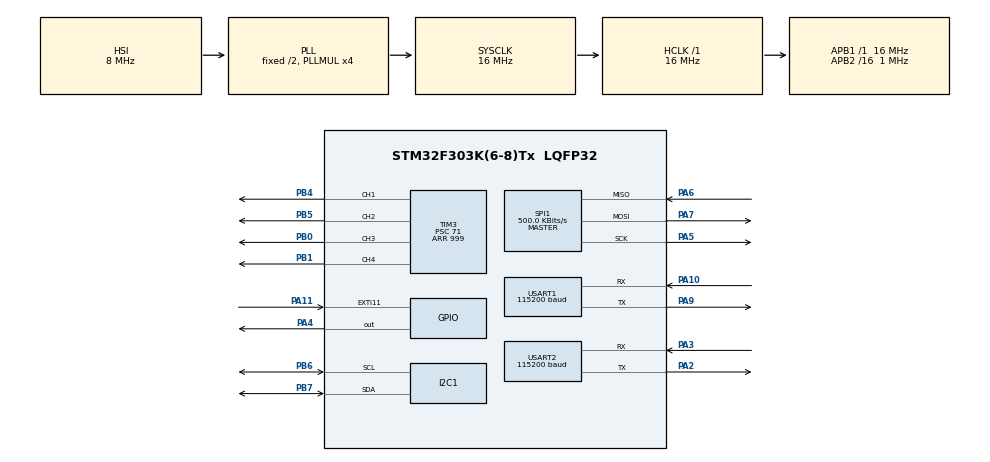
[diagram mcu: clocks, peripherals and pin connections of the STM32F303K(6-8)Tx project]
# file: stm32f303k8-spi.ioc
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I2C1.Timing=0x00201D2B
Mcu.Family=STM32F3
Mcu.Name=STM32F303K(6-8)Tx
Mcu.Package=LQFP32
NVIC.PriorityGroup=NVIC_PRIORITYGROUP_4
NVIC.USART1_IRQn=true\:0\:0\:false\:false\:true\:true\:true\:true
NVIC.USART2_IRQn=true\:0\:0\:false\:false\:true\:true\:true\:true
PA10.GPIO_PuPd=GPIO_PULLUP
PA10.Mode=Asynchronous
PA10.Signal=USART1_RX
PA11.Signal=GPXTI11
PA2.Mode=Asynchronous
PA2.Signal=USART2_TX
PA3.Mode=Asynchronous
PA3.Signal=USART2_RX
PA4.Signal=GPIO_Output
PA5.Mode=Full_Duplex_Master
PA5.Signal=SPI1_SCK
PA6.Mode=Full_Duplex_Master
PA6.Signal=SPI1_MISO
PA7.Mode=Full_Duplex_Master
PA7.Signal=SPI1_MOSI
PA9.GPIO_PuPd=GPIO_PULLUP
PA9.Mode=Asynchronous
PA9.Signal=USART1_TX
PB0.Signal=S_TIM3_CH3
PB1.Signal=S_TIM3_CH4
PB4.Signal=S_TIM3_CH1
PB5.Signal=S_TIM3_CH2
PB6.Mode=I2C
PB6.Signal=I2C1_SCL
PB7.Mode=I2C
PB7.Signal=I2C1_SDA
ProjectManager.HeapSize=0x200
ProjectManager.StackSize=0x400
ProjectManager.TargetToolchain=STM32CubeIDE
RCC.AHBFreq_Value=16000000
RCC.APB1Freq_Value=16000000
RCC.APB1TimFreq_Value=16000000
RCC.APB2CLKDivider=RCC_HCLK_DIV16
RCC.APB2Freq_Value=1000000
RCC.APB2TimFreq_Value=2000000
RCC.CortexFreq_Value=16000000
RCC.HCLKFreq_Value=16000000
RCC.HSE_VALUE=8000000
RCC.HSI_VALUE=8000000
RCC.PLLMUL=RCC_PLL_MUL4
RCC.SYSCLKFreq_VALUE=16000000
RCC.SYSCLKSourceVirtual=RCC_SYSCLKSOURCE_PLLCLK
SH.S_TIM3_CH1.0=TIM3_CH1,PWM Generation1 CH1
SH.S_TIM3_CH2.0=TIM3_CH2,PWM Generation2 CH2
SH.S_TIM3_CH3.0=TIM3_CH3,PWM Generation3 CH3
SH.S_TIM3_CH4.0=TIM3_CH4,PWM Generation4 CH4
SPI1.CalculateBaudRate=500.0 KBits/s
SPI1.DataSize=SPI_DATASIZE_16BIT
SPI1.Direction=SPI_DIRECTION_2LINES
SPI1.Mode=SPI_MODE_MASTER
SPI1.NSSPMode=SPI_NSS_PULSE_ENABLE
SPI1.VirtualType=VM_MASTER
TIM3.Channel-PWM\ Generation1\ CH1=TIM_CHANNEL_1
TIM3.Channel-PWM\ Generation2\ CH2=TIM_CHANNEL_2
TIM3.Channel-PWM\ Generation3\ CH3=TIM_CHANNEL_3
TIM3.Channel-PWM\ Generation4\ CH4=TIM_CHANNEL_4
TIM3.Period=999
TIM3.Prescaler=71
USART1.BaudRate=115200
USART1.VirtualMode-Asynchronous=VM_ASYNC
USART2.BaudRate=115200
USART2.VirtualMode-Asynchronous=VM_ASYNC
board=custom

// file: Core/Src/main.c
/* USER CODE BEGIN Header */
/**
  ******************************************************************************
  * @file           : main.c
  * @brief          : Main program body
  ******************************************************************************
  * @attention
  *
  * Copyright (c) 2025 STMicroelectronics.
  * All rights reserved.
  *
  * This software is licensed under terms that can be found in the LICENSE file
  * in the root directory of this software component.
  * If no LICENSE file comes with this software, it is provided AS-IS.
  *
  ******************************************************************************
  */
/* USER CODE END Header */
#include "main.h"

/* USER CODE BEGIN Includes */
#include <math.h>
#include <string.h>
#include "imu.h"
#include "motors.h"
#include "chassis.h"
#include "kalman.h"
#include "PID.h"
#include "stm_pi_uart1_link.h"
#include "stm_uart2_link.h"
#include "operator_commands.h"
#include "control_quantities.h"

/* USER CODE END Includes */

I2C_HandleTypeDef hi2c1;
SPI_HandleTypeDef hspi1;
TIM_HandleTypeDef htim3;
UART_HandleTypeDef huart1;
UART_HandleTypeDef huart2;

/* USER CODE BEGIN PV */

stm_pi_uart1_link_t stm_pi_uart1_link;
ChassisData_t chassisData;
IMU_Data_t imu;
Kalman1x1_t pitch_kalman1x1, yaw_kalman1x1;
PID_t pitch_angle_pid, speed_pid, yaw_angle_pid;
Motor_t leftMotor, rightMotor;
ControlQuantities_t controlQuantities;
operator_commands_t operator_commands;

/* USER CODE END PV */

void SystemClock_Config(void);
static void MX_GPIO_Init(void);
static void MX_USART2_UART_Init(void);
static void MX_SPI1_Init(void);
static void MX_USART1_UART_Init(void);
static void MX_TIM3_Init(void);
static void MX_I2C1_Init(void);

int main(void)
{

  /* MCU Configuration--------------------------------------------------------*/

  /* Reset of all peripherals, Initializes the Flash interface and the Systick. */
  HAL_Init();

  /* Configure the system clock */
  SystemClock_Config();

  /* Initialize all configured peripherals */
  MX_GPIO_Init();
  MX_USART2_UART_Init();
  MX_SPI1_Init();
  MX_USART1_UART_Init();
  MX_TIM3_Init();
  MX_I2C1_Init();
  /* USER CODE BEGIN 2 */

  /* ------- Initializations -------*/
  STM_Pi_UART1_Link_Init(&stm_pi_uart1_link);
  ChassisData_Init(&chassisData);

  Kalman1x1_Init(&pitch_kalman1x1, KALMAN_PITCH, 0.012, 0.03f);
  Kalman1x1_Init(&yaw_kalman1x1, KALMAN_YAW, 0.012, 0.001f);

  PID_Init(&pitch_angle_pid, PID_TYPE_PITCH_ANGLE, 0.0f, 0.0f, 0.0f); // Tested OK for preliminary robot configuration - (220.0f, 0.0f, 45.0f) , (35.0f, 0.0f, 5.7f)
  PID_Init(&speed_pid, PID_TYPE_SPEED, 0.0f, 0.0f, 0.0f); // Tested OK for preliminary robot configuration - (3.5f, 1.5f, 0.0f)
  PID_Init(&yaw_angle_pid, PID_TYPE_YAW_ANGLE, 0.0f, 0.0f, 0.0f);

  Motor_Init(&leftMotor, Full_Configuration, 1);
  Motor_Init(&rightMotor, Full_Configuration, 0);

  Control_Quantites_Init(&controlQuantities);
  Operator_Commands_Init(&operator_commands);

  HAL_TIM_PWM_Start(&htim3, TIM_CHANNEL_1);
  HAL_TIM_PWM_Start(&htim3, TIM_CHANNEL_2);
  HAL_TIM_PWM_Start(&htim3, TIM_CHANNEL_3);
  HAL_TIM_PWM_Start(&htim3, TIM_CHANNEL_4);

  IMU_Deselect();
  IMU_StartUpSequence(&hspi1);
  //IMU_ReadSerialNumber();

  /* -------------------------------*/

  /* USER CODE END 2 */

  /* Infinite loop */
  /* USER CODE BEGIN WHILE */

  HAL_UART_Receive_IT(&huart1, stm_pi_uart1_link.rx_buffer, PI_TO_STM_FRAME_TOTAL_SIZE);

  HAL_Delay(2000);

  HAL_UART_Transmit_IT(&huart1, &stm_pi_uart1_link.ready_byte, 1);

  uint32_t last_control_tick = HAL_GetTick();

  while (1)
  {
	  uint32_t now = HAL_GetTick();
	  if (now - last_control_tick >= controlQuantities.desired_control_period_ms) {

		  /* --- Compute actual control loop frequency (dt_actual) ---*/
		  uint32_t current_tick = now;
		  controlQuantities.dt_actual = (current_tick - last_control_tick) * 0.001f;
		  last_control_tick = current_tick;
		  /* ---------------------------------------------------------*/

		  check_for_updates_from_tuning_setup();

		  float u_forward = 0.0f;
		  float u_turn = 0.0f;

		  compute_controllers_commands(&u_forward, &u_turn);
		  set_PWM_for_balancing(&leftMotor, &rightMotor, u_forward, u_turn);
		  //do_MotorTrials(&leftMotor, &rightMotor);

		  send_telem_frame_over_STLink(&huart2,
		  			  	  	  	  	    pitch_kalman1x1.state_estimate,
										imu.gx,
										controlQuantities.u_pitch_angle,
		  								chassisData.xdot,
		  								chassisData.left_wheel_speed_rad_sec,
		  								chassisData.right_wheel_speed_rad_sec,
		  								controlQuantities.u_speed_hold,
										leftMotor.pwm,
										rightMotor.pwm,
		  								u_forward,
										chassisData.psidot,
		  								chassisData.yaw_angle,
		  								yaw_kalman1x1.state_estimate,
		  								imu.gz,
										0,
										imu.gy,
										0,
										0,
										speed_pid.integral,
										u_turn,
										stm_pi_uart1_link.pid_update_available,
										pitch_angle_pid.Kp,
										pitch_angle_pid.Ki,
										pitch_angle_pid.Kd,
										speed_pid.Kp,
										speed_pid.Ki,
										speed_pid.Kd,
										0,
										controlQuantities.dt_actual,
										controlQuantities.dt_chassis);

	      }

    /* USER CODE END WHILE */

  }
}

void SystemClock_Config(void)
{
  RCC_OscInitTypeDef RCC_OscInitStruct = {0};
  RCC_ClkInitTypeDef RCC_ClkInitStruct = {0};
  RCC_PeriphCLKInitTypeDef PeriphClkInit = {0};

  /** Initializes the RCC Oscillators according to the specified parameters
  * in the RCC_OscInitTypeDef structure.
  */
  RCC_OscInitStruct.OscillatorType = RCC_OSCILLATORTYPE_HSI;
  RCC_OscInitStruct.HSIState = RCC_HSI_ON;
  RCC_OscInitStruct.HSICalibrationValue = RCC_HSICALIBRATION_DEFAULT;
  RCC_OscInitStruct.PLL.PLLState = RCC_PLL_ON;
  RCC_OscInitStruct.PLL.PLLSource = RCC_PLLSOURCE_HSI;
  RCC_OscInitStruct.PLL.PLLMUL = RCC_PLL_MUL4;
  if (HAL_RCC_OscConfig(&RCC_OscInitStruct) != HAL_OK)
  {
    Error_Handler();
  }

  /** Initializes the CPU, AHB and APB buses clocks
  */
  RCC_ClkInitStruct.ClockType = RCC_CLOCKTYPE_HCLK|RCC_CLOCKTYPE_SYSCLK
                              |RCC_CLOCKTYPE_PCLK1|RCC_CLOCKTYPE_PCLK2;
  RCC_ClkInitStruct.SYSCLKSource = RCC_SYSCLKSOURCE_PLLCLK;
  RCC_ClkInitStruct.AHBCLKDivider = RCC_SYSCLK_DIV1;
  RCC_ClkInitStruct.APB1CLKDivider = RCC_HCLK_DIV1;
  RCC_ClkInitStruct.APB2CLKDivider = RCC_HCLK_DIV16;

  if (HAL_RCC_ClockConfig(&RCC_ClkInitStruct, FLASH_LATENCY_0) != HAL_OK)
  {
    Error_Handler();
  }
  PeriphClkInit.PeriphClockSelection = RCC_PERIPHCLK_USART1|RCC_PERIPHCLK_I2C1;
  PeriphClkInit.Usart1ClockSelection = RCC_USART1CLKSOURCE_PCLK1;
  PeriphClkInit.I2c1ClockSelection = RCC_I2C1CLKSOURCE_HSI;
  if (HAL_RCCEx_PeriphCLKConfig(&PeriphClkInit) != HAL_OK)
  {
    Error_Handler();
  }
}

static void MX_I2C1_Init(void)
{

  hi2c1.Instance = I2C1;
  hi2c1.Init.Timing = 0x00201D2B;
  hi2c1.Init.OwnAddress1 = 0;
  hi2c1.Init.AddressingMode = I2C_ADDRESSINGMODE_7BIT;
  hi2c1.Init.DualAddressMode = I2C_DUALADDRESS_DISABLE;
  hi2c1.Init.OwnAddress2 = 0;
  hi2c1.Init.OwnAddress2Masks = I2C_OA2_NOMASK;
  hi2c1.Init.GeneralCallMode = I2C_GENERALCALL_DISABLE;
  hi2c1.Init.NoStretchMode = I2C_NOSTRETCH_DISABLE;
  if (HAL_I2C_Init(&hi2c1) != HAL_OK)
  {
    Error_Handler();
  }

  /** Configure Analogue filter
  */
  if (HAL_I2CEx_ConfigAnalogFilter(&hi2c1, I2C_ANALOGFILTER_ENABLE) != HAL_OK)
  {
    Error_Handler();
  }

  /** Configure Digital filter
  */
  if (HAL_I2CEx_ConfigDigitalFilter(&hi2c1, 0) != HAL_OK)
  {
    Error_Handler();
  }

}

static void MX_SPI1_Init(void)
{

  /* SPI1 parameter configuration*/
  hspi1.Instance = SPI1;
  hspi1.Init.Mode = SPI_MODE_MASTER;
  hspi1.Init.Direction = SPI_DIRECTION_2LINES;
  hspi1.Init.DataSize = SPI_DATASIZE_16BIT;
  hspi1.Init.CLKPolarity = SPI_POLARITY_LOW;
  hspi1.Init.CLKPhase = SPI_PHASE_1EDGE;
  hspi1.Init.NSS = SPI_NSS_SOFT;
  hspi1.Init.BaudRatePrescaler = SPI_BAUDRATEPRESCALER_2;
  hspi1.Init.FirstBit = SPI_FIRSTBIT_MSB;
  hspi1.Init.TIMode = SPI_TIMODE_DISABLE;
  hspi1.Init.CRCCalculation = SPI_CRCCALCULATION_DISABLE;
  hspi1.Init.CRCPolynomial = 7;
  hspi1.Init.CRCLength = SPI_CRC_LENGTH_DATASIZE;
  hspi1.Init.NSSPMode = SPI_NSS_PULSE_ENABLE;
  if (HAL_SPI_Init(&hspi1) != HAL_OK)
  {
    Error_Handler();
  }

}

static void MX_TIM3_Init(void)
{

  TIM_MasterConfigTypeDef sMasterConfig = {0};
  TIM_OC_InitTypeDef sConfigOC = {0};

  htim3.Instance = TIM3;
  //htim3.Init.Prescaler = 71; // 222.22[Hz]
  //htim3.Init.Prescaler = 7; // 20[kHz]
  htim3.Init.Prescaler = 31; // 5[kHz]

  htim3.Init.CounterMode = TIM_COUNTERMODE_UP;
  //htim3.Init.Period = 999;   // 222.22[Hz]
  //htim3.Init.Period = 99;  // 20[kHz]
  htim3.Init.Period = 100;  // 5[kHz]

  htim3.Init.ClockDivision = TIM_CLOCKDIVISION_DIV1;
  htim3.Init.AutoReloadPreload = TIM_AUTORELOAD_PRELOAD_DISABLE;
  if (HAL_TIM_PWM_Init(&htim3) != HAL_OK)
  {
    Error_Handler();
  }
  sMasterConfig.MasterOutputTrigger = TIM_TRGO_RESET;
  sMasterConfig.MasterSlaveMode = TIM_MASTERSLAVEMODE_DISABLE;
  if (HAL_TIMEx_MasterConfigSynchronization(&htim3, &sMasterConfig) != HAL_OK)
  {
    Error_Handler();
  }
  sConfigOC.OCMode = TIM_OCMODE_PWM1;
  sConfigOC.Pulse = 0;
  sConfigOC.OCPolarity = TIM_OCPOLARITY_HIGH;
  sConfigOC.OCFastMode = TIM_OCFAST_DISABLE;
  if (HAL_TIM_PWM_ConfigChannel(&htim3, &sConfigOC, TIM_CHANNEL_1) != HAL_OK)
  {
    Error_Handler();
  }
  if (HAL_TIM_PWM_ConfigChannel(&htim3, &sConfigOC, TIM_CHANNEL_2) != HAL_OK)
  {
    Error_Handler();
  }
  if (HAL_TIM_PWM_ConfigChannel(&htim3, &sConfigOC, TIM_CHANNEL_3) != HAL_OK)
  {
    Error_Handler();
  }
  if (HAL_TIM_PWM_ConfigChannel(&htim3, &sConfigOC, TIM_CHANNEL_4) != HAL_OK)
  {
    Error_Handler();
  }
  HAL_TIM_MspPostInit(&htim3);

}

static void MX_USART1_UART_Init(void)
{

  huart1.Instance = USART1;
  huart1.Init.BaudRate = 115200;
  huart1.Init.WordLength = UART_WORDLENGTH_8B;
  huart1.Init.StopBits = UART_STOPBITS_1;
  huart1.Init.Parity = UART_PARITY_NONE;
  huart1.Init.Mode = UART_MODE_TX_RX;
  huart1.Init.HwFlowCtl = UART_HWCONTROL_NONE;
  huart1.Init.OverSampling = UART_OVERSAMPLING_16;
  huart1.Init.OneBitSampling = UART_ONE_BIT_SAMPLE_DISABLE;
  huart1.AdvancedInit.AdvFeatureInit = UART_ADVFEATURE_NO_INIT;
  if (HAL_UART_Init(&huart1) != HAL_OK)
  {
    Error_Handler();
  }

}

static void MX_USART2_UART_Init(void)
{

  huart2.Instance = USART2;
  huart2.Init.BaudRate = 115200;
  huart2.Init.WordLength = UART_WORDLENGTH_8B;
  huart2.Init.StopBits = UART_STOPBITS_1;
  huart2.Init.Parity = UART_PARITY_NONE;
  huart2.Init.Mode = UART_MODE_TX_RX;
  huart2.Init.HwFlowCtl = UART_HWCONTROL_NONE;
  huart2.Init.OverSampling = UART_OVERSAMPLING_16;
  huart2.Init.OneBitSampling = UART_ONE_BIT_SAMPLE_DISABLE;
  huart2.AdvancedInit.AdvFeatureInit = UART_ADVFEATURE_NO_INIT;
  if (HAL_UART_Init(&huart2) != HAL_OK)
  {
    Error_Handler();
  }

}

static void MX_GPIO_Init(void)
{
  GPIO_InitTypeDef GPIO_InitStruct = {0};

  /* GPIO Ports Clock Enable */
  __HAL_RCC_GPIOA_CLK_ENABLE();
  __HAL_RCC_GPIOB_CLK_ENABLE();

  /*Configure GPIO pin Output Level */
  HAL_GPIO_WritePin(GPIOA, GPIO_PIN_4, GPIO_PIN_RESET);

  /*Configure GPIO pin : PA4 */
  GPIO_InitStruct.Pin = GPIO_PIN_4;
  GPIO_InitStruct.Mode = GPIO_MODE_OUTPUT_PP;
  GPIO_InitStruct.Pull = GPIO_NOPULL;
  GPIO_InitStruct.Speed = GPIO_SPEED_FREQ_LOW;
  HAL_GPIO_Init(GPIOA, &GPIO_InitStruct);

  /*Configure GPIO pin : PA11 */
  GPIO_InitStruct.Pin = GPIO_PIN_11;
  GPIO_InitStruct.Mode = GPIO_MODE_IT_RISING;
  GPIO_InitStruct.Pull = GPIO_NOPULL;
  HAL_GPIO_Init(GPIOA, &GPIO_InitStruct);

}

/* USER CODE BEGIN 4 */

/**
  * @brief Redirects the printf output to UART
  */
int _write(int file, char *ptr, int len)
{
    HAL_UART_Transmit(&huart2, (uint8_t*)ptr, len, HAL_MAX_DELAY);
    return len;
}

/**
  * @brief  UART receive callback function.
  *         Handles incoming data frames on USART1, verifies CRC, and updates
  *         corresponding buffers or flags for further processing.
  * @param  huart: Pointer to the UART handle which triggered the callback.
  * @retval None
  * @note   The function supports multiple frame types: chassis data from the on board pi, PID tuning
  *         from a tuning station, and operator commands. It validates frames using CRC8 and flushes
  *         corrupted frames.
  */
void HAL_UART_RxCpltCallback(UART_HandleTypeDef *huart) {
    if (huart->Instance == USART1) {

        if (__HAL_UART_GET_FLAG(&huart1, UART_FLAG_ORE)) __HAL_UART_CLEAR_OREFLAG(&huart1);

        uint8_t h1 = stm_pi_uart1_link.rx_buffer[0];
		uint8_t h2 = stm_pi_uart1_link.rx_buffer[1];
		uint8_t recv_crc = stm_pi_uart1_link.rx_buffer[PI_TO_STM_FRAME_TOTAL_SIZE-1];
		uint8_t calc_crc = crc8(stm_pi_uart1_link.rx_buffer, PI_TO_STM_FRAME_TOTAL_SIZE-1);

		if (recv_crc != calc_crc) {
			__HAL_UART_FLUSH_DRREGISTER(&huart1);
			__HAL_UART_CLEAR_OREFLAG(&huart1);
			HAL_UART_Transmit(&huart1, &stm_pi_uart1_link.ready_byte, 1, HAL_MAX_DELAY);
			goto relaunch_uart;
		}

		/* --- UART frame parsing --- */
		if (h1 == CHASSIS_FRAME_HEADER_1 && h2 == CHASSIS_FRAME_HEADER_2) {
			memcpy(stm_pi_uart1_link.chassis_buffer, stm_pi_uart1_link.rx_buffer, PI_TO_STM_FRAME_TOTAL_SIZE);
			stm_pi_uart1_link.chassis_update_available = 1;

		} else if (h1 == PID_TUNING_FRAME_HEADER_1 && h2 == PID_TUNING_FRAME_HEADER_2) {
			memcpy(stm_pi_uart1_link.pid_buffer, stm_pi_uart1_link.rx_buffer, PI_TO_STM_FRAME_TOTAL_SIZE);
			stm_pi_uart1_link.pid_update_available = 1;

		} else if (h1 == ROUTE1_FRAME_HEADER_1 && h2 == ROUTE1_FRAME_HEADER_2) {
			operator_commands.motorTestsIntervalCounter = 0;
			stm_pi_uart1_link.route1_activate = 1;

		} else if (h1 == ROUTE2_FRAME_HEADER_1 && h2 == ROUTE2_FRAME_HEADER_2) {
			stm_pi_uart1_link.route2_activate = 1;

		}
		/* --------------------------- */

relaunch_uart:

        // Re-arm UART1 interrupt
        HAL_UART_Receive_IT(&huart1, stm_pi_uart1_link.rx_buffer, PI_TO_STM_FRAME_TOTAL_SIZE);
    }
}

/**
  * @brief  Limits the change of a value to a maximum step.
  * @param  newValue: The target value to reach.
  * @param  oldValue: The current value from which the change is calculated.
  * @param  maxStep: Maximum allowed change (positive) per call.
  * @retval The clamped value, adjusted to not exceed maxStep from oldValue.
  */
/*
float clampSlew(float newValue, float oldValue, float maxStep)
{
    float delta = newValue - oldValue;

    if (delta > maxStep)
        return oldValue + maxStep;

    if (delta < -maxStep)
        return oldValue - maxStep;

    return newValue;
}
*/

uint8_t crc8(uint8_t *data, uint16_t len) {
    uint8_t crc = 0;
    for (uint16_t i = 0; i < len; i++) {
        crc ^= data[i];
    }
    return crc;
}

/**
  * @brief  UART transmit complete callback.
  *         Called by the HAL when a non-blocking UART transmission (HAL_UART_Transmit_IT)
  *         has completed.
  * @param  huart: Pointer to the UART handle that triggered the callback.
  * @retval None
  * @note   This function is required by the HAL when using HAL_UART_Transmit_IT().
  *         An empty callback must be implemented to avoid undefined behavior.
  */
void HAL_UART_TxCpltCallback(UART_HandleTypeDef *huart) {
    if (huart->Instance == USART1) {
        // Nothing at the moment
    }
}

/**
  * @brief  Executes motor trial routines. Applies predefined PWM patterns to left and right motors for forward,
  *         backward, and idle intervals, including deadzone handling and saturation limits.
  *
  * @retval None
  *
  * @note   The function uses `operator_commands.motorTestsIntervalCounter` to determine
  *         the current phase of the test:
  *           - Even intervals <= 4: Constant forward PWM.
  *           - Even intervals 5-10: Constant backward PWM.
  *           - Odd intervals <= 10: Motors stopped.
  *           - Intervals > 10: Motors stopped.
  */
void do_MotorTrials(Motor_t* leftMotor, Motor_t* rightMotor) {

	if (stm_pi_uart1_link.route1_activate) {

		if (operator_commands.motorTestsIntervalCounter % 2 == 0 && operator_commands.motorTestsIntervalCounter <= 4) {

			// Const PWM, forward
			operator_commands.temp_target_PWM = 60.0; // Changes with PWM freq

			leftMotor->pwm = (int)do_turnWheel(HAL_GetTick(), 2300, 0, 0);
			rightMotor->pwm = (int)do_turnWheel(HAL_GetTick(), 2300, 0, 0);
			leftMotor->pwm  = apply_deadzone(leftMotor, leftMotor->pwm);
			rightMotor->pwm = apply_deadzone(rightMotor, rightMotor->pwm);

			leftMotor->pwm  = (leftMotor->pwm  >  MAX_EFFECTIVE_PWM) ?  MAX_EFFECTIVE_PWM :
						(leftMotor->pwm  < -MAX_EFFECTIVE_PWM) ? -MAX_EFFECTIVE_PWM : leftMotor->pwm;
			rightMotor->pwm = (rightMotor->pwm >  MAX_EFFECTIVE_PWM) ?  MAX_EFFECTIVE_PWM :
						(rightMotor->pwm < -MAX_EFFECTIVE_PWM) ? -MAX_EFFECTIVE_PWM : rightMotor->pwm;

			if( !(operator_commands.motorTestsDoOnceDummy == 2) ){
				setPWM(leftMotor, leftMotor->pwm);
				setPWM(rightMotor, rightMotor->pwm);
				operator_commands.motorTestsDoOnceDummy++;
			}

			stm_pi_uart1_link.route1_activate = 1;

		} else if (operator_commands.motorTestsIntervalCounter % 2 == 0 && operator_commands.motorTestsIntervalCounter > 4 && operator_commands.motorTestsIntervalCounter <= 10) {

			// Const PWM, backward
			operator_commands.temp_target_PWM = 30.0; // Changes with PWM freq

			leftMotor->pwm = (int)do_turnWheel(HAL_GetTick(), 2300, 0, 0);
			rightMotor->pwm = (int)do_turnWheel(HAL_GetTick(), 2300, 0, 0);
			leftMotor->pwm = -leftMotor->pwm;
			rightMotor->pwm = -rightMotor->pwm;
			leftMotor->pwm  = apply_deadzone(leftMotor, leftMotor->pwm);
			rightMotor->pwm = apply_deadzone(rightMotor, rightMotor->pwm);

			leftMotor->pwm  = (leftMotor->pwm  >  MAX_EFFECTIVE_PWM) ?  MAX_EFFECTIVE_PWM :
						(leftMotor->pwm  < -MAX_EFFECTIVE_PWM) ? -MAX_EFFECTIVE_PWM : leftMotor->pwm;
			rightMotor->pwm = (rightMotor->pwm >  MAX_EFFECTIVE_PWM) ?  MAX_EFFECTIVE_PWM :
						(rightMotor->pwm < -MAX_EFFECTIVE_PWM) ? -MAX_EFFECTIVE_PWM : rightMotor->pwm;

			if( !(operator_commands.motorTestsDoOnceDummy == 2) ){
				setPWM(leftMotor, leftMotor->pwm);
				setPWM(rightMotor, rightMotor->pwm);
				operator_commands.motorTestsDoOnceDummy++;
			}

			stm_pi_uart1_link.route1_activate = 1;

		} else if (operator_commands.motorTestsIntervalCounter % 2 == 1 && operator_commands.motorTestsIntervalCounter <= 10) {

			operator_commands.temp_target_PWM = 0;
			setPWM(leftMotor, (int)do_turnWheel(HAL_GetTick(), 7000, 0, 0));
			setPWM(rightMotor, (int)do_turnWheel(HAL_GetTick(), 7000, 0, 0));
			//setPWM_MotorLeft((int)do_turnWheel(HAL_GetTick(), 7000, 0, 0));
			//setPWM_MotorRight((int)do_turnWheel(HAL_GetTick(), 7000, 0, 0));
			stm_pi_uart1_link.route1_activate = 1;

		} else {

			setPWM(leftMotor, 0);
			setPWM(rightMotor, 0);
			stm_pi_uart1_link.route1_activate = 0;

		}
	}
}

/**
  * @brief  Checks for updated PID parameters received from the on-board pi over UART.
  * 		The raspberry pi listens on a socket to tunings from a station.
  *         If new parameters are available, the function updates the corresponding PID controllers
  *         and acknowledges receipt to the sender.
  * @param  None
  * @retval None
  */
void check_for_updates_from_tuning_setup() {
	if (stm_pi_uart1_link.pid_update_available == 1) {
		float *p = (float *)&stm_pi_uart1_link.pid_buffer[2];

		pitch_angle_pid.Kp = p[0];
		pitch_angle_pid.Ki = p[1];
		pitch_angle_pid.Kd = p[2];

		speed_pid.Kp = p[3];
		speed_pid.Ki = p[4];
		speed_pid.Kd = p[5];

		/* --- Be mindful of robot configuration --- */
//		leftMotor.Min_PWM_Forward = (int)p[6];
//		rightMotor.Min_PWM_Forward = (int)p[6];
//
//		leftMotor.Min_PWM_Backward = (int)p[7];
//		rightMotor.Min_PWM_Backward = (int)p[7];
//		leftMotor.Min_PWM_Backward = -leftMotor.Min_PWM_Backward;
//		rightMotor.Min_PWM_Backward = -rightMotor.Min_PWM_Backward;
		/* ---------------------------------------- */

		stm_pi_uart1_link.pid_update_available = 0;

		HAL_UART_Transmit_IT(&huart1, &stm_pi_uart1_link.ready_byte, 1);
	}
}

/**
  * @brief  Computes the control commands for forward and turning motions
  * @param  u_forward: Pointer to the output forward control command.
  * @param  u_turn: Pointer to the output turning (yaw) control command.
  * @retval None
  *
  * @note   The function performs the following steps:
  *           - Reads a single IMU sample for its gyros and acceleromoters values.
  *           - Updates a 1x1 Kalman filter for pitch estimation.
  *           - If new chassis data is available from UART (provided by the pi in interrupt mode):
  *               - Computes time delta since last chassis update.
  *               - Updates chassis speeds, xdot, psidot, and yaw angle.
  *               - Handles operator commands activation.
  *               - Updates speed PID controller based on target speed and measured xdot (wheel encoders).
  *           - Computes pitch angle control command using PID.
  *           - Combines pitch and speed controllers to produce forward control command.
  *           - Sets turning command based on yaw PID hold value.
  *
  * @note   The function uses `controlQuantities.dt_actual` for pitch PID and `controlQuantities.dt_chassis`
  *         for speed PID when new chassis data arrives.
  */
void compute_controllers_commands(float* u_forward, float* u_turn) {

	single_IMU_reading(&hspi1, &imu);
	float pitch_acc = atan2f(imu.ay, imu.az) * 57.2958f; // Signs explained in figure. basically - with accelerometers it's opposite of intuition
	float pitch_rate = imu.gx;
	Kalman1x1_Update(&pitch_kalman1x1, pitch_acc, pitch_rate, controlQuantities.dt_actual);
	//pitch_comp = alpha * (pitch_comp + pitch_rate * dt) + (1.0f - alpha) * pitch_acc; // Complementary filter to compare with. Outputs are similar

	/* -------- Slow control loop for wheel encoder data received from  the pi --------*/
	/* It can be seen from telemetry that is on average ~0.031[sec] (~30[Hz])*/
	if (stm_pi_uart1_link.chassis_update_available) {
		stm_pi_uart1_link.chassis_update_available = 0;

		/*------------- Compute dt_chassis -------------*/
		uint32_t now = HAL_GetTick();
		if (controlQuantities.last_chassis_tick != 0) {
			controlQuantities.dt_chassis =
				(now - controlQuantities.last_chassis_tick) * 0.001f;
		}
		controlQuantities.last_chassis_tick = now;
		/*----------------------------------------------*/

		/*------------- Update chassis data ------------*/
		float *data = (float*)&stm_pi_uart1_link.chassis_buffer[2]; // skip 2-byte header
		chassisData.left_wheel_speed_rad_sec  = data[0];
		chassisData.right_wheel_speed_rad_sec = data[1];
		chassisData.xdot                      = data[2];
		chassisData.psidot                    = data[3];
		chassisData.yaw_angle += chassisData.psidot * controlQuantities.dt_chassis * 57.2958f; // rad/sec to deg/sec
		/*----------------------------------------------*/

		/* -------------- Yaw Controller -------------- */
		/*
		controlQuantities.u_yaw_angle_hold = PID_Update(&yaw_angle_pid,
				controlQuantities.target_yaw_angle,
				chassisData.yaw_angle,
				chassisData.psidot,
				dt_chassis);
		*/
		/* -------------------------------------------- */

		HAL_UART_Transmit_IT(&huart1, &stm_pi_uart1_link.ready_byte, 1);

		/* -------- Operator commands handling -------- */
		if (stm_pi_uart1_link.route1_activate) {
			//controlQuantities.target_speed = do_route1(HAL_GetTick(), 1500, 650, 650);
			speed_pid.integral = 0;
			stm_pi_uart1_link.route1_activate = 0;
		}

		if (stm_pi_uart1_link.route2_activate) {
			controlQuantities.u_yaw_angle_hold = do_route2(HAL_GetTick(), 15000, 2000, 2000);
		}
		/* -------------------------------------------- */

		/* -------------- Speed Controller. No measured rate ---------- */
		controlQuantities.u_speed_hold = PID_Update(&speed_pid,
				controlQuantities.target_speed,
				chassisData.xdot,
				0.0f,
				controlQuantities.dt_chassis);

		controlQuantities.u_speed_hold  = (controlQuantities.u_speed_hold  >  speed_pid.output_limit) ?  speed_pid.output_limit :
						(controlQuantities.u_speed_hold  < -speed_pid.output_limit) ? -speed_pid.output_limit : controlQuantities.u_speed_hold;   //TODO: The limit belongs to controlQuantities, not to PID..
		/* ----------------------------------------------------------- */

	}
	/* --------------------------------------------------------------------------------*/

	/* -------- TODO: Yaw investigations --------*/
	/*
	float yaw_rate_world = gz * cosf(pitch_kalman1x1.state_estimate * (float)M_PI / 180.0f) - gy * sinf(pitch_kalman1x1.state_estimate * (float)M_PI / 180.0f);
	float yaw_rate_world = gz * cosf(pitch_kalman1x1.state_estimate * (float)M_PI / 180.0f) + gy * sinf(pitch_kalman1x1.state_estimate * (float)M_PI / 180.0f);
	float yaw_rate_world = sqrtf(gy * gy + gz * gz);
	Kalman1x1_Update(&yaw_kalman1x1, chassisData.psidot * (180.0f / M_PI), yaw_rate_world , dt);
	yaw_angle_kalman_rate_integration += yaw_kalman1x1.state_estimate * dt;
	yaw_angle_IMU_rate_integ_no_kalman += yaw_rate_world * dt;
	 */
	/* ------------------------------------------*/

	/* ------ Speed controller in Cascade ------ */
	/*
  float speed_term = isfinite(controlQuantities.u_speed_hold)
	                   ? controlQuantities.u_speed_hold
	                   : 0.0f;
	float combined_angle_setpoint = (controlQuantities.target_pitch_angle + speed_term); // Used only when cascading the PID controllers. If they're added, this can be left out.
	controlQuantities.u_pitch_angle = PID_Update(&pitch_angle_pid,
			combined_angle_setpoint,
			pitch_kalman1x1.state_estimate,
			pitch_rate,
			dt);
	*/
	/* ------------------------------------------*/

	/* --- Speed controller in superposition --- */
	controlQuantities.u_pitch_angle = PID_Update(&pitch_angle_pid,
			controlQuantities.target_pitch_angle,
			pitch_kalman1x1.state_estimate,
			pitch_rate,
			controlQuantities.dt_actual);
	/* ------------------------------------------*/

	/* ----------- Limit controllers ----------- */
	controlQuantities.u_pitch_angle = (controlQuantities.u_pitch_angle >  pitch_angle_pid.output_limit) ?  pitch_angle_pid.output_limit :
					(controlQuantities.u_pitch_angle < -pitch_angle_pid.output_limit) ? -pitch_angle_pid.output_limit : controlQuantities.u_pitch_angle;  //TODO: The limit belongs to controlQuantities, not to PID..

	controlQuantities.u_yaw_angle_hold = (controlQuantities.u_yaw_angle_hold    >  yaw_angle_pid.output_limit) ?  yaw_angle_pid.output_limit :
					   (controlQuantities.u_yaw_angle_hold    < -yaw_angle_pid.output_limit) ? -yaw_angle_pid.output_limit : controlQuantities.u_yaw_angle_hold; //   //TODO: The limit belongs to controlQuantities, not to PID..
	/* ------------------------------------------*/

	/* --- Speed controller in Cascade --- */
	//*u_forward = controlQuantities.u_pitch_angle;
	//*u_turn    = controlQuantities.u_yaw_angle_hold;

	/* --- Speed controller in superposition --- */
	*u_forward = controlQuantities.u_pitch_angle + controlQuantities.u_speed_hold;
	*u_turn    = controlQuantities.u_yaw_angle_hold;

}

/**
  * @brief  Sets the PWM commands for left and right motors to achieve balancing,
  *         based on forward and turning control inputs.
  * @retval None
  *
  * @note   The function performs the following steps:
  *           - Combines forward and turning commands to compute left and right PWM.
  *           - Applies motor deadzone adjustments.
  *           - Clamps PWM to `MAX_EFFECTIVE_PWM` which is the Auto Reload Register tim3 value.
  *           - Sends PWM commands to the motors
  */
void set_PWM_for_balancing(Motor_t* leftMotor, Motor_t* rightMotor, float u_forward, float u_turn) {

	leftMotor->pwm  = (int)(u_forward + u_turn); // Positive yaw angle requires positive u_turn
	rightMotor->pwm = (int)(u_forward - u_turn);

	leftMotor->pwm  = apply_deadzone(leftMotor, leftMotor->pwm);
	rightMotor->pwm = apply_deadzone(rightMotor, rightMotor->pwm);

	/* --- Optinal: limit maximum PWM incerement --- */
	/* TODO: Implement using Motor*
	pwm_left  = clampSlew(pwm_left,  last_pwm_left,  MAX_PWM_STEP);
	pwm_right = clampSlew(pwm_right, last_pwm_right, MAX_PWM_STEP);
	last_pwm_left = pwm_left;
	last_pwm_right = pwm_right;
	*/

	leftMotor->pwm  = (leftMotor->pwm  >  MAX_EFFECTIVE_PWM) ?  MAX_EFFECTIVE_PWM :
				(leftMotor->pwm  < -MAX_EFFECTIVE_PWM) ? -MAX_EFFECTIVE_PWM : leftMotor->pwm;
	rightMotor->pwm = (rightMotor->pwm >  MAX_EFFECTIVE_PWM) ?  MAX_EFFECTIVE_PWM :
				(rightMotor->pwm < -MAX_EFFECTIVE_PWM) ? -MAX_EFFECTIVE_PWM : rightMotor->pwm;

	setPWM(leftMotor, leftMotor->pwm);
	setPWM(rightMotor, rightMotor->pwm);
}

/* USER CODE END 4 */

void Error_Handler(void)
{
  __disable_irq();
  while (1)
  {
  }
}
